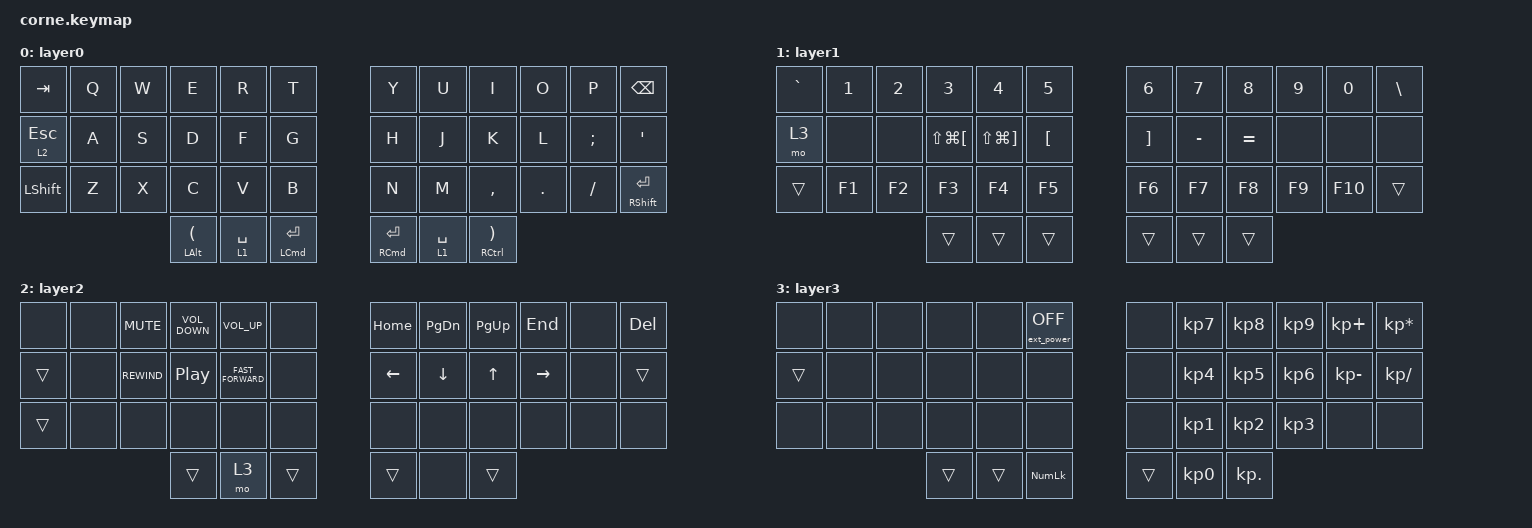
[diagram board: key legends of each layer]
/*
 * Copyright (c) 2020 The ZMK Contributors
 *
 * SPDX-License-Identifier: MIT
 */

#include <behaviors.dtsi>
#include <dt-bindings/zmk/keys.h>
#include <dt-bindings/zmk/bt.h>
#include <dt-bindings/zmk/ext_power.h>

/*
 * Layer names below (Base, Symbols, Nav, Numpad) are load-bearing for two
 * downstream consumers, not just documentation:
 *   - .github/workflows/draw.yml passes them positionally via
 *     `keymap parse --layer-names Base Symbols Nav Numpad`
 *   - keymap-drawer/merge_layers.py hard-codes the same four names and
 *     exits non-zero on a mismatch
 * Renaming or reordering a layer here requires updating both.
 */

/ {
        keymap {
                compatible = "zmk,keymap";

                layer0 {
//,-----------------------------------------------------.                    ,-----------------------------------------------------.
//   KC_TAB,    KC_Q,    KC_W,    KC_E,    KC_R,    KC_T,                         KC_Y,    KC_U,    KC_I,    KC_O,    KC_P, KC_BSPC,
//|--------+--------+--------+--------+--------+--------|                    |--------+--------+--------+--------+--------+--------|
//  _NAVESC,    KC_A,    KC_S,    KC_D,    KC_F,    KC_G,                         KC_H,    KC_J,    KC_K,    KC_L, KC_SCLN, KC_QUOT,
//|--------+--------+--------+--------+--------+--------|                    |--------+--------+--------+--------+--------+--------|
//  KC_LSFT,    KC_Z,    KC_X,    KC_C,    KC_V,    KC_B,                         KC_N,    KC_M, KC_COMM,  KC_DOT, KC_SLSH, SC_SENT,
//|--------+--------+--------+--------+--------+--------+--------|  |--------+--------+--------+--------+--------+--------+--------|
//                                      SC_LAPO, _LWRSPC, _GUIENT,    _GUIENT, _LWRSPC, SC_RCPC
//                                    `--------------------------'  `--------------------------'
                        bindings = <
 &kp TAB &kp Q &kp W &kp E &kp R &kp T &kp Y &kp U &kp I &kp O &kp P &kp BSPC
 &lt 2 ESC &kp A &kp S &kp D &kp F &kp G &kp H &kp J &kp K &kp L &kp SEMI &kp SQT
 &kp LSHFT &kp Z &kp X &kp C &kp V &kp B &kp N &kp M &kp COMMA &kp DOT &kp FSLH &mt RSHFT RET
 &mt LALT LPAR &lt 1 SPACE &mt LCMD RET &mt RCMD RET &lt 1 SPACE &mt RCTRL RPAR
                        >;
                };

                layer1 {
//,-----------------------------------------------------.                    ,-----------------------------------------------------.
//   KC_GRV,    KC_1,    KC_2,    KC_3,    KC_4,    KC_5,                         KC_6,    KC_7,    KC_8,    KC_9,    KC_0, KC_BSLS,
//|--------+--------+--------+--------+--------+--------|                    |--------+--------+--------+--------+--------+--------|
//  _MO_NUM,   KC_NO,   KC_NO, _SGLBRC, _SGRBRC, KC_LBRC,                      KC_RBRC, KC_MINS,  KC_EQL,   KC_NO,   KC_NO,   KC_NO,
//|--------+--------+--------+--------+--------+--------|                    |--------+--------+--------+--------+--------+--------|
//  _______,   KC_F1,   KC_F2,   KC_F3,   KC_F4,   KC_F5,                        KC_F6,   KC_F7,   KC_F8,   KC_F9,  KC_F10, _______,
//|--------+--------+--------+--------+--------+--------+--------|  |--------+--------+--------+--------+--------+--------+--------|
//                                      _______, _______, _______,    _______, _______, _______
//                                    `--------------------------'  `--------------------------'
                        bindings = <
 &kp GRAVE &kp N1 &kp N2 &kp N3 &kp N4 &kp N5 &kp N6 &kp N7 &kp N8 &kp N9 &kp N0 &kp BSLH
 &mo 3 &none &none &kp LS(LG(LBKT)) &kp LS(LG(RBKT)) &kp LBKT &kp RBKT &kp MINUS &kp EQUAL &none &none &none
 &trans &kp F1 &kp F2 &kp F3 &kp F4 &kp F5 &kp F6 &kp F7 &kp F8 &kp F9 &kp F10 &trans
 &trans &trans &trans &trans &trans &trans
                        >;
                };

                layer2 {
//,-----------------------------------------------------.                    ,-----------------------------------------------------.
//    KC_NO,   KC_NO, KC_MUTE, KC_VOLD, KC_VOLU,   KC_NO,                      KC_HOME, KC_PGDN, KC_PGUP,  KC_END,   KC_NO,  KC_DEL,
//|--------+--------+--------+--------+--------+--------|                    |--------+--------+--------+--------+--------+--------|
//  _______,   KC_NO, KC_MRWD, KC_MPLY, KC_MFFD,   KC_NO,                      KC_LEFT, KC_DOWN,   KC_UP, KC_RGHT,   KC_NO, _______,
//|--------+--------+--------+--------+--------+--------|                    |--------+--------+--------+--------+--------+--------|
//  _______,   KC_NO,   KC_NO,   KC_NO,   KC_NO,   KC_NO,                        KC_NO,   KC_NO,   KC_NO,   KC_NO,   KC_NO,   KC_NO,
//|--------+--------+--------+--------+--------+--------+--------|  |--------+--------+--------+--------+--------+--------+--------|
//                                      _______, _MO_NUM, _______,    _______,   KC_NO, _______
//                                    `--------------------------'  `--------------------------'
                        bindings = <
&none &none &kp C_MUTE &kp C_VOLUME_DOWN &kp C_VOLUME_UP &none &kp HOME &kp PAGE_DOWN &kp PAGE_UP &kp END &none &kp DELETE
&trans &none &kp C_REWIND &kp C_PLAY_PAUSE &kp C_FAST_FORWARD &none &kp LEFT &kp DOWN &kp UP &kp RIGHT &none &trans
&trans &none &none &none &none &none &none &none &none &none &none &none
&trans &mo 3 &trans &trans &none &trans
                        >;
                };

                layer3 {
//,-----------------------------------------------------.                    ,-----------------------------------------------------.
//    KC_NO,   KC_NO,   KC_NO,   KC_NO,   KC_NO,  EP_OFF,                        KC_NO,   KC_P7,   KC_P8,   KC_P9, KC_PPLS, KC_PAST,
//|--------+--------+--------+--------+--------+--------|                    |--------+--------+--------+--------+--------+--------|
//  _______,   KC_NO,   KC_NO,   KC_NO,   KC_NO,   KC_NO,                        KC_NO,   KC_P4,   KC_P5,   KC_P6, KC_PMNS, KC_PSLS,
//|--------+--------+--------+--------+--------+--------|                    |--------+--------+--------+--------+--------+--------|
//    KC_NO,   KC_NO,   KC_NO,   KC_NO,   KC_NO,   KC_NO,                        KC_NO,   KC_P1,   KC_P2,   KC_P3,   KC_NO,   KC_NO,
//|--------+--------+--------+--------+--------+--------+--------|  |--------+--------+--------+--------+--------+--------+--------|
//                                      _______, _______,  KC_NUM,    _______,   KC_P0, KC_PDOT
//                                    `--------------------------'  `--------------------------'
                        bindings = <
&none &none &none &none &none &ext_power EP_OFF &none &kp KP_N7 &kp KP_N8 &kp KP_N9 &kp KP_PLUS &kp KP_ASTERISK
&trans &none &none &none &none &none &none &kp KP_N4 &kp KP_N5 &kp KP_N6 &kp KP_MINUS &kp KP_SLASH
&none &none &none &none &none &none &none &kp KP_N1 &kp KP_N2 &kp KP_N3 &none &none
&trans &trans &kp KP_NUM &trans &kp KP_N0 &kp KP_DOT
                        >;
                };
        };
};
